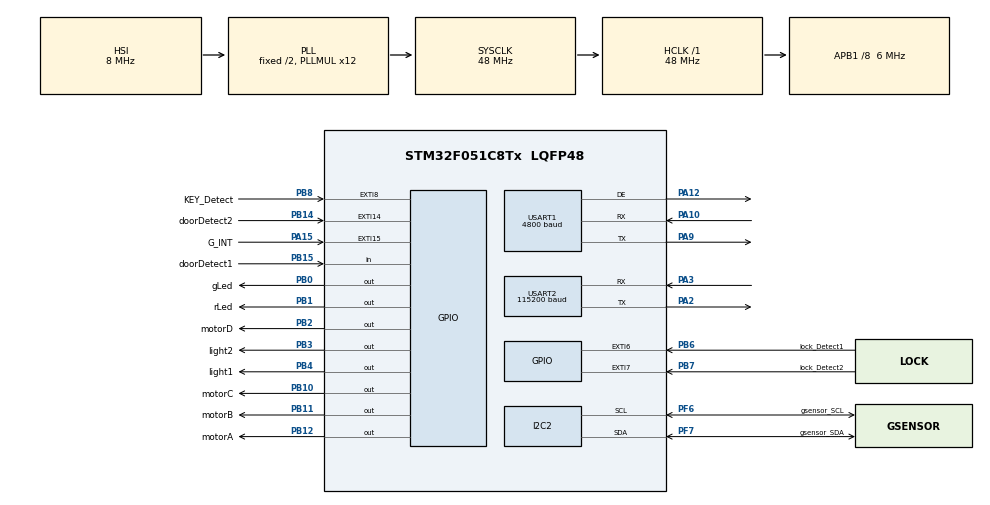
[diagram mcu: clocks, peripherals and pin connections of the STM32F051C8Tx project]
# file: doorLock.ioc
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Dma.Request0=USART1_RX
Dma.USART1_RX.0.Direction=DMA_PERIPH_TO_MEMORY
Dma.USART1_RX.0.Instance=DMA1_Channel3
Dma.USART1_RX.0.MemDataAlignment=DMA_MDATAALIGN_BYTE
Dma.USART1_RX.0.MemInc=DMA_MINC_ENABLE
Dma.USART1_RX.0.Mode=DMA_NORMAL
Dma.USART1_RX.0.PeriphDataAlignment=DMA_PDATAALIGN_BYTE
Dma.USART1_RX.0.PeriphInc=DMA_PINC_DISABLE
Dma.USART1_RX.0.Priority=DMA_PRIORITY_LOW
I2C2.Timing=0x00101520
IWDG.Prescaler=IWDG_PRESCALER_32
IWDG.Reload=3750
IWDG.Window=3750
Mcu.Family=STM32F0
Mcu.Name=STM32F051C8Tx
Mcu.Package=LQFP48
NVIC.DMA1_Channel2_3_IRQn=true\:0\:0\:false\:false\:true\:false\:true\:true
NVIC.EXTI4_15_IRQn=true\:1\:0\:true\:false\:true\:true\:true\:true
NVIC.TIM14_IRQn=true\:1\:0\:true\:false\:true\:true\:true\:true
NVIC.USART1_IRQn=true\:0\:0\:false\:false\:true\:true\:true\:true
PA10.Mode=Asynchronous
PA10.Signal=USART1_RX
PA12.Mode=Hardware Flow Control (RS485)
PA12.Signal=USART1_DE
PA15.GPIO_Label=G_INT
PA15.GPIO_ModeDefaultEXTI=GPIO_MODE_IT_FALLING
PA15.GPIO_PuPd=GPIO_PULLUP
PA15.Signal=GPXTI15
PA2.Mode=Asynchronous
PA2.Signal=USART2_TX
PA3.Mode=Asynchronous
PA3.Signal=USART2_RX
PA9.Mode=Asynchronous
PA9.Signal=USART1_TX
PB0.GPIO_Label=gLed
PB0.GPIO_Speed=GPIO_SPEED_FREQ_HIGH
PB0.PinState=GPIO_PIN_SET
PB0.Signal=GPIO_Output
PB1.GPIO_Label=rLed
PB1.GPIO_Speed=GPIO_SPEED_FREQ_HIGH
PB1.PinState=GPIO_PIN_SET
PB1.Signal=GPIO_Output
PB10.GPIO_Label=motorC
PB10.GPIO_Speed=GPIO_SPEED_FREQ_HIGH
PB10.Signal=GPIO_Output
PB11.GPIO_Label=motorB
PB11.GPIO_Speed=GPIO_SPEED_FREQ_HIGH
PB11.Signal=GPIO_Output
PB12.GPIO_Label=motorA
PB12.GPIO_Speed=GPIO_SPEED_FREQ_HIGH
PB12.Signal=GPIO_Output
PB14.GPIO_Label=doorDetect2
PB14.GPIO_ModeDefaultEXTI=GPIO_MODE_IT_RISING_FALLING
PB14.GPIO_PuPd=GPIO_PULLUP
PB14.Signal=GPXTI14
PB15.GPIO_Label=doorDetect1
PB15.GPIO_PuPd=GPIO_PULLUP
PB15.Signal=GPIO_Input
PB2.GPIO_Label=motorD
PB2.GPIO_Speed=GPIO_SPEED_FREQ_HIGH
PB2.Signal=GPIO_Output
PB3.GPIO_Label=light2
PB3.GPIO_Speed=GPIO_SPEED_FREQ_HIGH
PB3.PinState=GPIO_PIN_RESET
PB3.Signal=GPIO_Output
PB4.GPIO_Label=light1
PB4.GPIO_Speed=GPIO_SPEED_FREQ_HIGH
PB4.Signal=GPIO_Output
PB6.GPIO_Label=lock_Detect1
PB6.GPIO_ModeDefaultEXTI=GPIO_MODE_IT_RISING_FALLING
PB6.GPIO_PuPd=GPIO_PULLUP
PB6.Signal=GPXTI6
PB7.GPIO_Label=lock_Detect2
PB7.GPIO_ModeDefaultEXTI=GPIO_MODE_IT_RISING_FALLING
PB7.GPIO_PuPd=GPIO_PULLUP
PB7.Signal=GPXTI7
PB8.GPIO_Label=KEY_Detect
PB8.GPIO_ModeDefaultEXTI=GPIO_MODE_IT_RISING_FALLING
PB8.GPIO_PuPd=GPIO_PULLUP
PB8.Signal=GPXTI8
PF6.GPIO_Label=gsensor_SCL
PF6.Mode=I2C
PF6.Signal=I2C2_SCL
PF7.GPIO_Label=gsensor_SDA
PF7.Mode=I2C
PF7.Signal=I2C2_SDA
ProjectManager.HeapSize=0x200
ProjectManager.StackSize=0x400
ProjectManager.TargetToolchain=MDK-ARM V5.32
RCC.AHBFreq_Value=48000000
RCC.APB1CLKDivider=RCC_HCLK_DIV8
RCC.APB1Freq_Value=6000000
RCC.APB1TimFreq_Value=12000000
RCC.HCLKFreq_Value=48000000
RCC.PLLMUL=RCC_PLL_MUL12
RCC.SYSCLKFreq_VALUE=48000000
RCC.SYSCLKSource=RCC_SYSCLKSOURCE_PLLCLK
TIM14.AutoReloadPreload=TIM_AUTORELOAD_PRELOAD_ENABLE
TIM14.Period=12008
USART1.BaudRate=4800
USART1.DMADisableonRxErrorParam=ADVFEATURE_DMA_DISABLEONRXERROR
USART1.VirtualMode-Asynchronous=VM_ASYNC
USART1.VirtualMode-Hardware\ Flow\ Control\ (RS485)=VM_ASYNC
USART2.BaudRate=115200
USART2.VirtualMode-Asynchronous=VM_ASYNC
VP_IWDG_VS_IWDG.Mode=IWDG_Activate
VP_TIM14_VS_ClockSourceINT.Mode=Enable_Timer
board=custom

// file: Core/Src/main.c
/* USER CODE BEGIN Header */
/**
  ******************************************************************************
  * @file           : main.c
  * @brief          : Main program body
  ******************************************************************************
  * @attention
  *
  * Copyright (c) 2022 STMicroelectronics.
  * All rights reserved.
  *
  * This software is licensed under terms that can be found in the LICENSE file
  * in the root directory of this software component.
  * If no LICENSE file comes with this software, it is provided AS-IS.
  *
  ******************************************************************************
  */
/* USER CODE END Header */
#include "main.h"
#include "dma.h"
#include "i2c.h"
#include "iwdg.h"
#include "tim.h"
#include "usart.h"
#include "gpio.h"

/* USER CODE BEGIN Includes */
#include <stdio.h>
#include <stdlib.h>
#include <string.h>
#include "user_protocol.h"
#include "common.h"
#include "user_data.h"
#include "flash_if.h"

#include "led.h"
#include "motor.h"
#include "sc7a20.h"
/* USER CODE END Includes */

/* USER CODE BEGIN PV */
lock_ctrl_t lock;
/* USER CODE END PV */

void SystemClock_Config(void);

/* USER CODE BEGIN 0 */

/**
 *
 * @brief  设置RDP Level 1,禁止通过SWD烧录口读写Flash
 * 开启后，只能通过cubemxprammer或者其他烧录器来解除保护，解除保护会擦掉flash
 * 开启RDP Level 1保护，禁止通过SWD烧录口读写Flash。调试时关掉读写保护
 * 开启后，SWD口硬件线路未与stlink断开，且PC端在操作STlink时，会导致MCU程序卡死
 */

#define OPEN_RDPLEVEL_1   // 打开读保护 Level 1

FLASH_OBProgramInitTypeDef obInit;

void InterruptRemap(void)
{
	__HAL_RCC_SYSCFG_CLK_ENABLE();
	memcpy((void*)RAM_ADDRESS_START, (void*)APPLICATION_ADDRESS, VECTOR_SIZE);
	__HAL_SYSCFG_REMAPMEMORY_SRAM();
  __enable_irq();//如果bootloader关闭中断，这里必须打开中断，否则会导致中断无法响应
}
/* USER CODE END 0 */

void Set_RDP_Level1(void)
{
    HAL_FLASH_Unlock();         // 解锁主 Flash
    HAL_FLASH_OB_Unlock();      // 解锁 Option Bytes
    // 读取当前 Option Bytes 设置
    HAL_FLASHEx_OBGetConfig(&obInit);
    // 判断是否已设置为 Level 1，避免重复操作
    if (obInit.RDPLevel != OB_RDP_LEVEL_1)
    {
        obInit.OptionType = OPTIONBYTE_RDP;
        obInit.RDPLevel = OB_RDP_LEVEL_1;

        // 配置 RDP Level 1
        if (HAL_FLASHEx_OBProgram(&obInit) != HAL_OK)
        {
            printf("set RDP Level 1 fail!\r\n");// 可以继续执行其他初始化
            return;
        }

        // 启动 Option Bytes 加载，MCU 会复位
        HAL_FLASH_OB_Launch();
    }

    HAL_FLASH_OB_Lock();   // 锁定 Option Bytes
    HAL_FLASH_Lock();      // 锁定 Flash
}

  int main(void)
{
  /* USER CODE BEGIN 1 */
	InterruptRemap();
  /* USER CODE END 1 */

  /* MCU Configuration--------------------------------------------------------*/

  /* Reset of all peripherals, Initializes the Flash interface and the Systick. */
  HAL_Init();

  /* Configure the system clock */
  SystemClock_Config();
  user_database_init();
  #ifdef OPEN_RDPLEVEL_1
  Set_RDP_Level1();
  #endif

  /* Initialize all configured peripherals */
  MX_GPIO_Init();

  MX_DMA_Init();
  MX_I2C2_Init();
  MX_IWDG_Init();

  MX_TIM14_Init();

  /* USER CODE BEGIN 2 */

  MX_USART1_UART_Init();
  MX_USART2_UART_Init();
  printSetting();
  sync_boot_env();
  lock_state_init();
  lock_stop_detect();
  sc7a20_init(&sc7a20_misc_data);
  /* USER CODE END 2 */

  /* Infinite loop */
  while (1)
  {

    /* USER CODE BEGIN 3 */
    MX_IWDG_Refresh();
		led_task();
    motor_task();
    user_protocol_handle();
    user_reply_handle();
    sc7a20_task();
    autolock_task();
		user_huart_error_check();
    check_door_detect1_status();
  }
  /* USER CODE END 3 */
}

void SystemClock_Config(void)
{
  RCC_OscInitTypeDef RCC_OscInitStruct = {0};
  RCC_ClkInitTypeDef RCC_ClkInitStruct = {0};
  RCC_PeriphCLKInitTypeDef PeriphClkInit = {0};

  /** Initializes the RCC Oscillators according to the specified parameters
  * in the RCC_OscInitTypeDef structure.
  */
  RCC_OscInitStruct.OscillatorType = RCC_OSCILLATORTYPE_HSI|RCC_OSCILLATORTYPE_LSI;
  RCC_OscInitStruct.HSIState = RCC_HSI_ON;
  RCC_OscInitStruct.HSICalibrationValue = RCC_HSICALIBRATION_DEFAULT;
  RCC_OscInitStruct.LSIState = RCC_LSI_ON;
  RCC_OscInitStruct.PLL.PLLState = RCC_PLL_ON;
  RCC_OscInitStruct.PLL.PLLSource = RCC_PLLSOURCE_HSI;
  RCC_OscInitStruct.PLL.PLLMUL = RCC_PLL_MUL12;
  RCC_OscInitStruct.PLL.PREDIV = RCC_PREDIV_DIV1;
  if (HAL_RCC_OscConfig(&RCC_OscInitStruct) != HAL_OK)
  {
    Error_Handler();
  }

  /** Initializes the CPU, AHB and APB buses clocks
  */
  RCC_ClkInitStruct.ClockType = RCC_CLOCKTYPE_HCLK|RCC_CLOCKTYPE_SYSCLK
                              |RCC_CLOCKTYPE_PCLK1;
  RCC_ClkInitStruct.SYSCLKSource = RCC_SYSCLKSOURCE_PLLCLK;
  RCC_ClkInitStruct.AHBCLKDivider = RCC_SYSCLK_DIV1;
  RCC_ClkInitStruct.APB1CLKDivider = RCC_HCLK_DIV8;

  if (HAL_RCC_ClockConfig(&RCC_ClkInitStruct, FLASH_LATENCY_1) != HAL_OK)
  {
    Error_Handler();
  }
  PeriphClkInit.PeriphClockSelection = RCC_PERIPHCLK_USART1;
  PeriphClkInit.Usart1ClockSelection = RCC_USART1CLKSOURCE_PCLK1;
  if (HAL_RCCEx_PeriphCLKConfig(&PeriphClkInit) != HAL_OK)
  {
    Error_Handler();
  }
}

void Error_Handler(void)
{
  __disable_irq();
  while (1)
  {
  }
}
